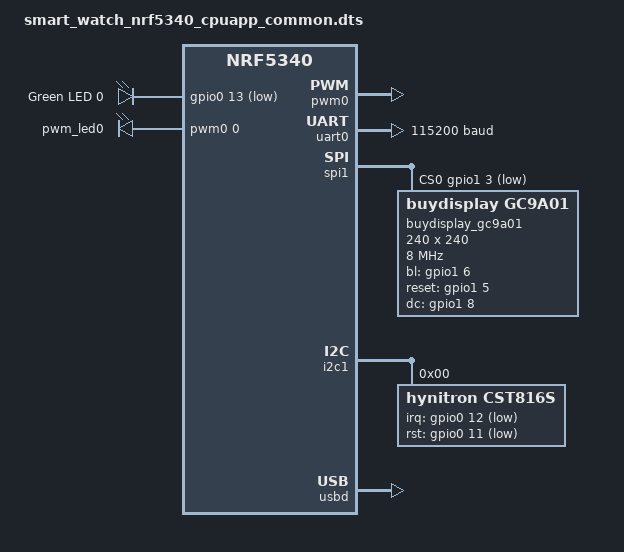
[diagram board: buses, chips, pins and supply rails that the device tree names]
/*
 * Copyright (c) 2022 Nordic Semiconductor ASA
 *
 * SPDX-License-Identifier: LicenseRef-Nordic-5-Clause
 */
#include "smart_watch_nrf5340_cpuapp_common-pinctrl.dtsi"

/ {

	chosen {
		zephyr,console = &uart0;
		zephyr,bt-hci-rpmsg-ipc = &ipc0;
		zephyr,display = &gc9a01;
	};

	leds {
		compatible = "gpio-leds";
		led0: led_0 {
			gpios = <&gpio0 13 GPIO_ACTIVE_LOW>;
			label = "Green LED 0";
		};
	};

	pwmleds {
		compatible = "pwm-leds";
		pwm_led0: pwm_led_0 {
			pwms = <&pwm0 0 PWM_MSEC(20) 0>;
		};
	};

	/* These aliases are provided for compatibility with samples */
	aliases {
		led0 = &led0;
		pwm-led0 = &pwm_led0;
	};
};

&gpio0 {
	status = "okay";
};

&gpio1 {
	status = "okay";
};

&pwm0 {
	status = "okay";
	pinctrl-0 = <&pwm0_default>;
	pinctrl-1 = <&pwm0_sleep>;
	pinctrl-names = "default", "sleep";
};

&uart0 {
	compatible = "nordic,nrf-uarte";
	status = "okay";
	current-speed = <115200>;
	pinctrl-0 = <&uart0_default>;
	pinctrl-1 = <&uart0_sleep>;
	pinctrl-names = "default", "sleep";
};

&spi1 {
	status = "okay";
	compatible = "nordic,nrf-spi";
	pinctrl-0 = <&spi1_default>;
	pinctrl-1 = <&spi1_sleep>;
	pinctrl-names = "default", "sleep";
	cs-gpios = <&gpio1 3 GPIO_ACTIVE_LOW>;

	gc9a01: gc9a01@0 {
		compatible = "buydisplay,gc9a01";
		status = "okay";
		spi-max-frequency = <8000000>;
		reg = <0>;
		width = <240>;
		label = "buydisplay_gc9a01";
		height = <240>;
		bl-gpios = <&gpio1 6 GPIO_ACTIVE_HIGH>;
		reset-gpios = <&gpio1 5 GPIO_ACTIVE_HIGH>;
		dc-gpios = <&gpio1 8 GPIO_ACTIVE_HIGH>;
	};

};

&i2c1 {
	status = "okay";
	compatible = "nordic,nrf-twi";
	pinctrl-0 = <&i2c1_default>;
	pinctrl-1 = <&i2c1_sleep>;
	pinctrl-names = "default", "sleep";
	cst816s@0 {
		compatible = "hynitron,cst816s";
		reg = <0x0 >;
		irq-gpios = <&gpio0 12 GPIO_ACTIVE_LOW>;
		rst-gpios = <&gpio0 11 GPIO_ACTIVE_LOW>;
	};
};

&flash0 {

	partitions {
		compatible = "fixed-partitions";
		#address-cells = <1>;
		#size-cells = <1>;

		boot_partition: partition@0 {
			label = "mcuboot";
			reg = <0x00000000 0x00010000>;
		};
		slot0_partition: partition@10000 {
			label = "image-0";
		};
		slot0_ns_partition: partition@50000 {
			label = "image-0-nonsecure";
		};
		slot1_partition: partition@80000 {
			label = "image-1";
		};
		slot1_ns_partition: partition@c0000 {
			label = "image-1-nonsecure";
		};
		scratch_partition: partition@f0000 {
			label = "image-scratch";
			reg = <0x000f0000 0xa000>;
		};
		storage_partition: partition@fa000 {
			label = "storage";
			reg = <0x000fa000 0x00006000>;
		};
	};
};

zephyr_udc0: &usbd {
	compatible = "nordic,nrf-usbd";
	status = "okay";
};

/ {

	reserved-memory {
		#address-cells = <1>;
		#size-cells = <1>;
		ranges;

		sram0_image: image@20000000 {
			/* Zephyr image(s) memory */
		};

		sram0_s: image_s@20000000 {
			/* Secure image memory */
		};

		sram0_ns: image_ns@20040000 {
			/* Non-Secure image memory */
		};
	};
};

/* Include partition configuration file */
#include "smart_watch_nrf5340_cpuapp_partition_conf.dts"
